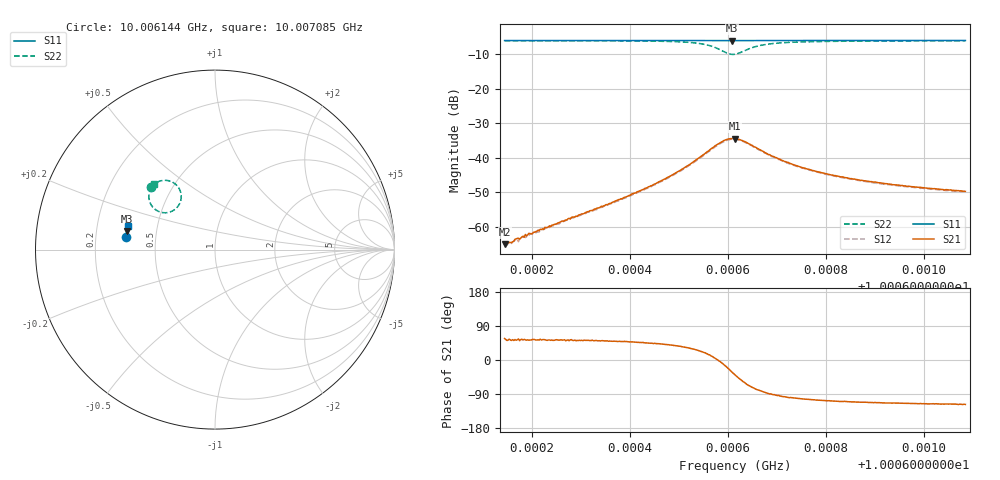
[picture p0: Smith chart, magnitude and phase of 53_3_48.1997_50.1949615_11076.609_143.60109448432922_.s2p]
#  HZ  S  RI  R  50.00
! Rohde & Schwarz Vector Network Analyzer
! Rohde-Schwarz,ZNB20-2Port,1311601062101988,3.16
! Created: UTC 3/20/2024, 11:38:22 AM
! freq[Hz]  re:S11  im:S11  re:S21  im:S21  re:S12  im:S12  re:S22  im:S22
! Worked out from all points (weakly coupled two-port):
!   401 points, 10.006144 GHz to 10.007085 GHz, reference 50 ohm
!   highest |S21| = -34.40 dB at 10.006615 GHz (marker M1); lowest = -65.1 dB at 10.006144 GHz (marker M2)
!   lowest |S11| = -6.0 dB at 10.006608 GHz (marker M3), VSWR 3.01, Z = 16.8 + j4.52 ohm
!   |S11| at or under -10 dB: nowhere
!   |S22| runs from -10.0 to -6.0 dB; largest |S21 - S12| = 0.0014
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1.0006144e10  -0.4966 0.0717  0.000304 0.000463  0.000292 0.000434  -0.3583 0.3477
1.00061581e10  -0.4965 0.0726  0.000369 0.000464  0.000324 0.000474  -0.3573 0.3486
1.00061652e10  -0.4965 0.073  0.000388 0.000532  0.000342 0.000538  -0.3568 0.349
1.00062099e10  -0.4962 0.076  0.000521 0.000687  0.000486 0.000687  -0.3531 0.3528
1.00062216e10  -0.4961 0.0769  0.000551 0.000755  0.000518 0.00075  -0.3521 0.3539
1.00063016e10  -0.4954 0.0821  0.000949 0.00121  0.000859 0.00124  -0.3439 0.3611
1.00063957e10  -0.4944 0.0882  0.00185 0.00207  0.00172 0.00214  -0.3291 0.3717
1.00064593e10  -0.4936 0.0924  0.00329 0.00307  0.00306 0.00314  -0.3107 0.3806
1.0006511e10  -0.4929 0.0959  0.00596 0.00398  0.00559 0.00418  -0.281 0.3861
1.00065557e10  -0.4919 0.0987  0.0114 0.00355  0.0108 0.00396  -0.2294 0.3712
1.00065722e10  -0.4913 0.0997  0.0145 0.00159  0.014 0.00228  -0.2042 0.3469
1.00065887e10  -0.4907 0.1005  0.017 -0.00261  0.0166 -0.0017  -0.1883 0.302
1.00066075e10  -0.4904 0.1009  0.0162 -0.00975  0.0166 -0.00842  -0.2089 0.2378
1.00066146e10  -0.4906 0.101  0.0148 -0.012  0.0151 -0.011  -0.2289 0.22
1.00066334e10  -0.4908 0.1017  0.00898 -0.0148  0.00944 -0.0141  -0.29 0.206
1.00066687e10  -0.4912 0.1041  0.00175 -0.0126  0.0021 -0.0124  -0.3529 0.245
1.00066875e10  -0.4911 0.1054  0.000117 -0.0108  0.000556 -0.0106  -0.3636 0.2662
1.00067252e10  -0.4909 0.108  -0.00137 -0.00827  -0.000807 -0.00819  -0.3684 0.2954
1.00067722e10  -0.4904 0.1111  -0.00165 -0.00637  -0.00136 -0.00635  -0.366 0.3169
1.00068499e10  -0.4894 0.1163  -0.00172 -0.00468  -0.00148 -0.00468  -0.359 0.3364
1.00069299e10  -0.4885 0.1215  -0.00166 -0.0038  -0.00145 -0.00381  -0.3525 0.3483
1.00070852e10  -0.4862 0.1313  -0.00149 -0.0029  -0.00137 -0.00292  -0.3418 0.3634
